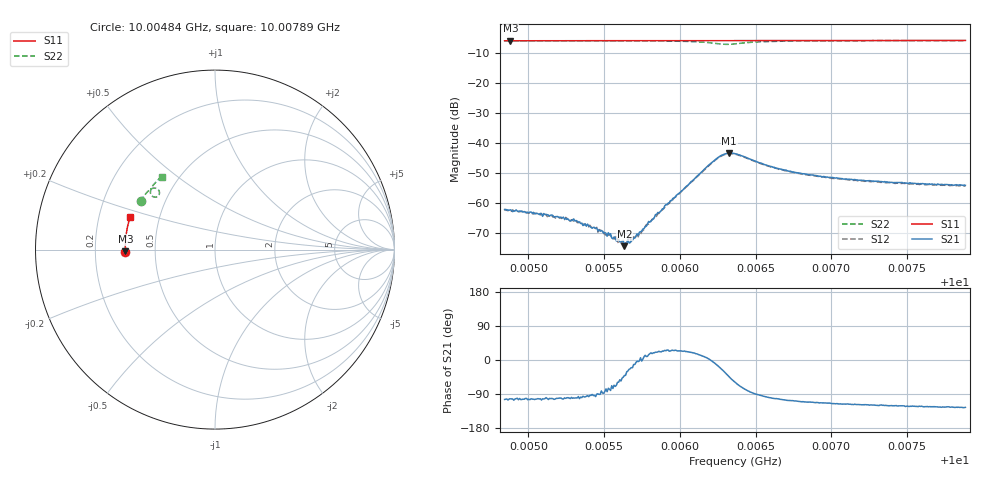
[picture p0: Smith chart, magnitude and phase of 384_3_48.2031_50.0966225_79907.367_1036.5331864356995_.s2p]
#  HZ  S  RI  R  50.00
! Rohde & Schwarz Vector Network Analyzer
! Rohde-Schwarz,ZNB20-2Port,1311601062101988,3.16
! Created: UTC 3/20/2024, 11:53:15 AM
! freq[Hz]  re:S11  im:S11  re:S21  im:S21  re:S12  im:S12  re:S22  im:S22
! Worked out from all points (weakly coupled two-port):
!   401 points, 10.00484 GHz to 10.00789 GHz, reference 50 ohm
!   highest |S21| = -43.34 dB at 10.00633 GHz (marker M1); lowest = -74.3 dB at 10.00563 GHz (marker M2)
!   lowest |S11| = -6.0 dB at 10.00488 GHz (marker M3), VSWR 2.99, Z = 16.7 - j0.448 ohm
!   |S11| at or under -10 dB: nowhere
!   |S22| runs from -7.2 to -6.0 dB; largest |S21 - S12| = 0.00041
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1.0004843e10  -0.4992 -0.0124  -0.000192 -0.000764  -0.000131 -0.000741  -0.4148 0.2683
1.0004881e10  -0.4992 -0.0101  -0.000168 -0.000759  -0.000106 -0.000726  -0.4135 0.2707
1.0005117e10  -0.4998 0.00541  -0.000105 -0.000641  -8.52e-05 -0.00064  -0.405 0.2843
1.0005307e10  -0.5 0.0177  -9.26e-05 -0.000498  -4.32e-05 -0.000511  -0.3974 0.2959
1.0005353e10  -0.4999 0.0207  -7.58e-05 -0.000462  -5.62e-05 -0.00046  -0.3955 0.2985
1.0005437e10  -0.4997 0.0263  -2.55e-05 -0.000394  -2.35e-06 -0.00039  -0.3917 0.3036
1.0005528e10  -0.4996 0.0322  8.6e-05 -0.000313  4.63e-05 -0.000289  -0.3874 0.3091
1.0005573e10  -0.4995 0.0351  9.41e-05 -0.000255  0.000111 -0.000229  -0.3853 0.3119
1.0005604e10  -0.4995 0.0371  0.00014 -0.00018  0.00012 -0.000176  -0.3837 0.3137
1.0005634e10  -0.4993 0.039  0.000147 -0.000126  0.000149 -0.000156  -0.3821 0.3157
1.0005688e10  -0.4992 0.0425  0.000228 -8.44e-05  0.000254 -6.09e-05  -0.3791 0.3189
1.0005741e10  -0.499 0.0458  0.000334 3.47e-05  0.000303 1.46e-05  -0.3761 0.3224
1.0005786e10  -0.4989 0.0488  0.000443 7.45e-05  0.000431 0.000114  -0.373 0.3253
1.0005862e10  -0.4984 0.0538  0.000638 0.000273  0.000611 0.000291  -0.3677 0.3301
1.000622e10  -0.4956 0.0768  0.00494 -0.000443  0.00484 -0.000217  -0.3141 0.3315
1.0006281e10  -0.4949 0.0805  0.00569 -0.00278  0.00565 -0.00243  -0.31 0.3107
1.0006326e10  -0.4948 0.0832  0.00484 -0.00478  0.00496 -0.00439  -0.3202 0.2959
1.0006364e10  -0.4944 0.0854  0.00342 -0.00571  0.00367 -0.0054  -0.334 0.292
1.0006615e10  -0.4924 0.1014  -0.000759 -0.00388  -0.000519 -0.00385  -0.3589 0.3301
1.0006874e10  -0.4894 0.118  -0.00106 -0.00275  -0.000932 -0.00273  -0.3477 0.354
1.0007383e10  -0.4817 0.1499  -0.00113 -0.00192  -0.000997 -0.00196  -0.3223 0.3837
1.0007885e10  -0.472 0.1809  -0.00114 -0.00162  -0.00102 -0.00163  -0.2968 0.4068
